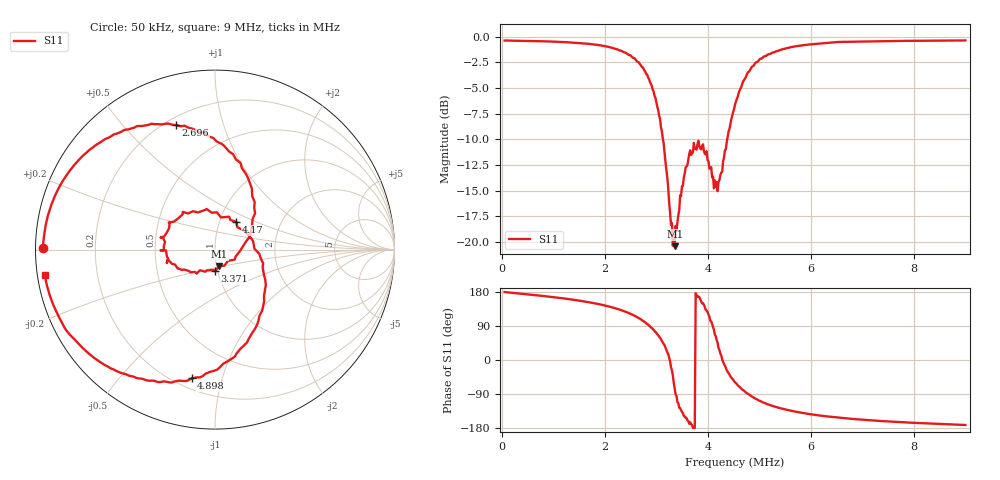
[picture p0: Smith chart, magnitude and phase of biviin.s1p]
# Hz S RI R 50
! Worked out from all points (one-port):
!   505 points, 50 kHz to 9 MHz, reference 50 ohm
!   lowest |S11| = -20.4 dB at 3.353 MHz (marker M1), VSWR 1.21, Z = 51.6 - j9.58 ohm
!   |S11| at or under -10 dB: 3.125 MHz to 4.373 MHz (1.249 MHz wide, 33.3 % of centre)
!   S11 on the Smith chart (normalised r, x): 50 kHz: 0.02, +0.01; 2.696 MHz: 0.24, +0.71; 3.371 MHz: 0.97, -0.24; 4.17 MHz: 1.20, +0.39; 4.898 MHz: 0.26, -0.80; 9 MHz: 0.02, -0.07
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50000  -0.958 0.00996
1186400  -0.8999 0.2804
1843457  -0.7777 0.4778
2305057  -0.5707 0.6371
2695757  -0.2176 0.6937
2908857  0.0548 0.574
3086357  0.2074 0.2965
3175157  0.206 0.1306
3281757  0.1146 -0.0392
3352757  0.0241 -0.0921
3370557  -0.000601 -0.1195
3423757  -0.0543 -0.1231
3494857  -0.1365 -0.1269
3619157  -0.2394 -0.0795
3814414  -0.304 0.0671
4009714  -0.1228 0.214
4169614  0.1184 0.1549
4240614  0.2026 0.0615
4364914  0.2729 -0.1416
4542514  0.2331 -0.4217
4720014  0.0716 -0.6218
4897614  -0.1304 -0.7175
5235014  -0.4219 -0.7182
5661171  -0.6359 -0.6295
6158371  -0.771 -0.5134
6779871  -0.8579 -0.3976
7898528  -0.9234 -0.2455
8999528  -0.949 -0.1419
